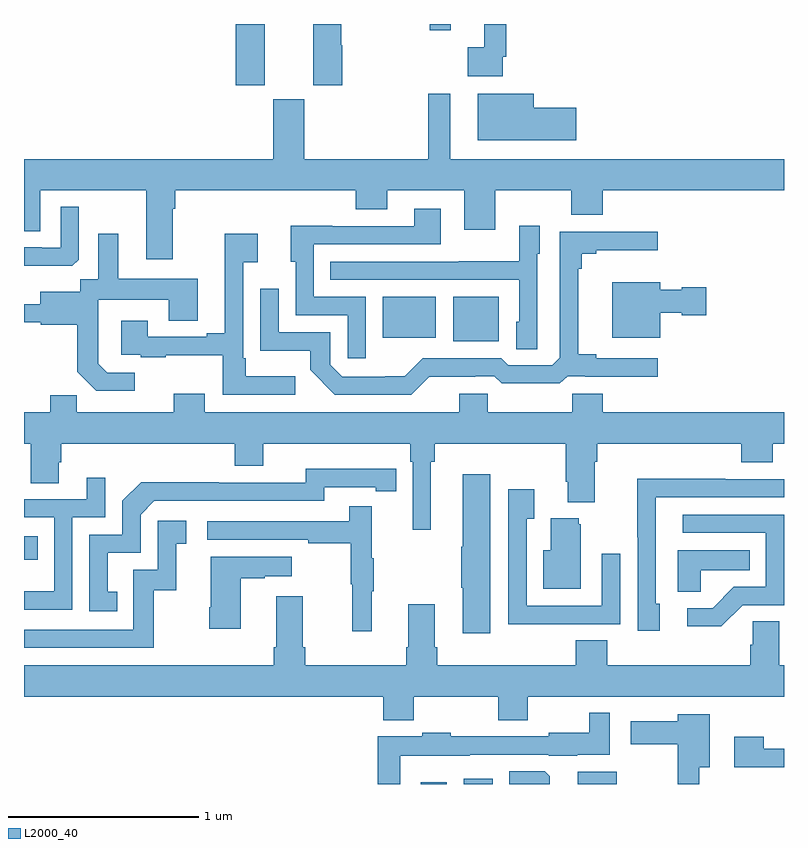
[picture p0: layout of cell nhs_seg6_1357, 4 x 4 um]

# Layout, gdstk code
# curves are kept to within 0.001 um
import gdstk
lib = gdstk.Library(unit=1e-6, precision=1e-09)
def R(c, l, rs):  # rectangles x0, y0, x1, y1
    for r in rs: c.add(gdstk.rectangle(r[:2], r[2:], *l))
def P(c, l, *ps):  # polygons
    for p in ps: c.add(gdstk.Polygon(p, *l))
L2000_40 = (2000, 40)

nhs_seg6_1357 = lib.new_cell('nhs_seg6_1357')
R(nhs_seg6_1357, L2000_40, [(195.089,989.5,195.226,989.509), (195.314,989.5,195.466,989.527), (195.914,989.5,196.12,989.564), (193,990.681,193.073,990.804), (195.26,991.829,195.499,992.065), (194.888,991.85,195.166,992.065), (194.114,993.177,194.266,993.5), (195.135,993.468,195.245,993.5)])
P(nhs_seg6_1357, L2000_40, [(194.675,993.389),(194.67,993.389),(194.67,993.5),(194.522,993.5),(194.522,993.177),(194.675,993.177)],
  [(195.519,993.328),(195.539,993.328),(195.539,993.5),(195.422,993.5),(195.422,993.377),(195.336,993.377),(195.336,993.224),(195.519,993.224)],
  [(195.907,993.059),(195.682,993.059),(195.682,993.133),(195.389,993.133),(195.389,992.888),(195.907,992.888)],
  [(194.476,993.105),(194.312,993.105),(194.312,992.788),(193,992.788),(193,992.41),(193.086,992.41),(193.086,992.624),(193.643,992.624),(193.643,992.262),(193.783,992.262),(193.783,992.528),(193.796,992.528),(193.796,992.624),(194.747,992.624),(194.747,992.525),(194.911,992.525),(194.911,992.624),(195.317,992.624),(195.317,992.418),(195.481,992.418),(195.481,992.624),(195.881,992.624),(195.881,992.496),(196.045,992.496),(196.045,992.624),(197,992.624),(197,992.788),(195.244,992.788),(195.244,993.133),(195.127,993.133),(195.127,992.788),(194.476,992.788)],
  [(193.287,992.259),(193.287,992.539),(193.194,992.539),(193.194,992.322),(193.094,992.322),(193.094,992.325),(193,992.325),(193,992.228),(193.255,992.228)],
  [(194.799,992.064),(194.526,992.064),(194.526,992.34),(195.193,992.34),(195.193,992.527),(195.053,992.527),(195.053,992.436),(194.623,992.436),(194.623,992.438),(194.405,992.438),(194.405,992.25),(194.43,992.25),(194.43,991.968),(194.703,991.968),(194.703,991.74),(194.799,991.74)],
  [(195.702,992.292),(195.715,992.292),(195.715,992.437),(195.606,992.437),(195.606,992.251),(195.289,992.251),(195.289,992.25),(194.611,992.25),(194.611,992.154),(195.606,992.154),(195.606,991.932),(195.59,991.932),(195.59,991.789),(195.702,991.789)],
  [(195.134,991.643),(195.374,991.643),(195.374,991.647),(195.474,991.647),(195.514,991.608),(195.821,991.608),(195.861,991.647),(195.955,991.647),(195.955,991.643),(196.336,991.643),(196.336,991.74),(196.012,991.74),(196.012,991.763),(195.917,991.763),(195.917,992.213),(195.935,992.213),(195.935,992.29),(196.012,992.29),(196.012,992.309),(196.336,992.309),(196.336,992.406),(195.819,992.406),(195.819,991.743),(195.78,991.704),(195.549,991.704),(195.513,991.74),(195.099,991.74),(195.005,991.646),(194.9,991.646),(194.9,991.644),(194.676,991.644),(194.613,991.707),(194.613,991.878),(194.34,991.878),(194.34,992.107),(194.244,992.107),(194.244,991.781),(194.506,991.781),(194.506,991.679),(194.636,991.548),(195.039,991.548)],
  [(193.582,991.665),(193.437,991.665),(193.39,991.712),(193.39,991.807),(193.392,991.807),(193.392,992.048),(193.763,992.048),(193.763,991.939),(193.915,991.939),(193.915,992.158),(193.495,992.158),(193.495,992.395),(193.391,992.395),(193.391,992.156),(193.296,992.156),(193.296,992.092),(193.085,992.092),(193.085,992.025),(193,992.025),(193,991.929),(193.089,991.929),(193.089,991.917),(193.281,991.917),(193.281,991.671),(193.381,991.571),(193.582,991.571)],
  [(194.428,991.645),(194.167,991.645),(194.167,991.741),(194.154,991.741),(194.154,992.246),(194.23,992.246),(194.23,992.395),(194.057,992.395),(194.057,991.873),(193.961,991.873),(193.961,991.854),(193.651,991.854),(193.651,991.939),(193.511,991.939),(193.511,991.758),(193.615,991.758),(193.615,991.746),(193.747,991.746),(193.747,991.757),(194.046,991.757),(194.046,991.548),(194.428,991.548)],
  [(196.348,991.979),(196.461,991.979),(196.461,991.967),(196.591,991.967),(196.591,992.114),(196.461,992.114),(196.461,992.101),(196.348,992.101),(196.348,992.14),(196.097,992.14),(196.097,991.85),(196.348,991.85)],
  [(193.951,991.555),(193.787,991.555),(193.787,991.456),(193.277,991.456),(193.277,991.547),(193.139,991.547),(193.139,991.456),(193,991.456),(193,991.292),(193.036,991.292),(193.036,991.084),(193.183,991.084),(193.183,991.194),(193.196,991.194),(193.196,991.292),(194.108,991.292),(194.108,991.175),(194.26,991.175),(194.26,991.292),(195.032,991.292),(195.032,991.196),(195.045,991.196),(195.045,990.837),(195.142,990.837),(195.142,991.196),(195.161,991.196),(195.161,991.292),(195.851,991.292),(195.851,991.09),(195.863,991.09),(195.863,990.983),(196.003,990.983),(196.003,991.196),(196.016,991.196),(196.016,991.292),(196.775,991.292),(196.775,991.193),(196.94,991.193),(196.94,991.292),(197,991.292),(197,991.456),(196.046,991.456),(196.046,991.554),(195.886,991.554),(195.886,991.456),(195.441,991.456),(195.441,991.554),(195.29,991.554),(195.29,991.456),(193.951,991.456)],
  [(193.49,990.513),(193.441,990.513),(193.441,990.717),(193.614,990.717),(193.614,990.918),(193.686,990.99),(194.58,990.99),(194.58,991.062),(194.852,991.062),(194.852,991.042),(194.96,991.042),(194.96,991.158),(194.484,991.159),(194.484,991.086),(194.024,991.086),(194.024,991.088),(193.616,991.088),(193.518,990.99),(193.518,990.813),(193.344,990.813),(193.344,990.408),(193.49,990.408)],
  [(195.454,991.129),(195.308,991.129),(195.308,990.749),(195.301,990.749),(195.301,990.532),(195.308,990.532),(195.308,990.294),(195.454,990.294)],
  [(193.254,990.903),(193.428,990.903),(193.428,991.111),(193.331,991.111),(193.331,990.999),(193,990.999),(193,990.903),(193.158,990.903),(193.158,990.514),(193,990.514),(193,990.417),(193.254,990.417)],
  [(196.345,990.45),(196.326,990.45),(196.326,991.008),(197,991.008),(197,991.104),(196.691,991.104),(196.691,991.106),(196.228,991.106),(196.228,990.799),(196.23,990.799),(196.23,990.306),(196.345,990.306)],
  [(195.821,990.342),(196.137,990.342),(196.137,990.712),(196.041,990.712),(196.041,990.438),(195.645,990.438),(195.645,990.895),(195.685,990.895),(195.685,991.051),(195.549,991.051),(195.549,990.341),(195.821,990.341)],
  [(194.831,990.515),(194.842,990.515),(194.842,990.689),(194.831,990.689),(194.831,990.961),(194.713,990.961),(194.713,990.882),(193.965,990.882),(193.965,990.786),(194.497,990.786),(194.497,990.766),(194.721,990.766),(194.721,990.552),(194.728,990.552),(194.728,990.303),(194.831,990.303)],
  [(196.782,990.441),(197,990.441),(197,990.918),(196.467,990.918),(196.467,990.822),(196.905,990.822),(196.905,990.537),(196.736,990.537),(196.625,990.426),(196.491,990.426),(196.491,990.329),(196.669,990.329)],
  [(195.931,990.867),(195.92,990.867),(195.92,990.898),(195.773,990.898),(195.773,990.73),(195.734,990.73),(195.734,990.527),(195.931,990.527)],
  [(193.684,990.519),(193.802,990.519),(193.802,990.765),(193.855,990.765),(193.855,990.886),(193.704,990.886),(193.704,990.627),(193.575,990.627),(193.575,990.312),(193,990.312),(193,990.216),(193.684,990.216)],
  [(196.563,990.626),(196.82,990.626),(196.82,990.73),(196.442,990.73),(196.442,990.511),(196.563,990.511)],
  [(194.14,990.583),(194.267,990.583),(194.267,990.593),(194.41,990.593),(194.41,990.697),(193.982,990.697),(193.982,990.43),(193.975,990.43),(193.975,990.318),(194.14,990.318)],
  [(195.051,989.96),(195.496,989.96),(195.496,989.836),(195.651,989.836),(195.651,989.96),(197,989.96),(197,990.124),(196.975,990.124),(196.975,990.356),(196.836,990.356),(196.836,990.233),(196.823,990.233),(196.823,990.124),(196.07,990.124),(196.07,990.257),(195.905,990.257),(195.905,990.124),(195.176,990.124),(195.176,990.22),(195.163,990.22),(195.163,990.445),(195.023,990.445),(195.023,990.22),(195.011,990.22),(195.011,990.124),(194.48,990.124),(194.48,990.22),(194.467,990.22),(194.467,990.487),(194.327,990.487),(194.327,990.22),(194.315,990.22),(194.315,990.124),(193,990.124),(193,989.96),(194.891,989.96),(194.891,989.836),(195.051,989.836)],
  [(194.979,989.648),(195.345,989.648),(195.345,989.655),(195.762,989.655),(195.762,989.648),(195.912,989.648),(195.912,989.654),(196.083,989.654),(196.083,989.875),(195.975,989.875),(195.975,989.77),(195.762,989.77),(195.762,989.751),(195.246,989.751),(195.246,989.769),(195.096,989.769),(195.096,989.751),(194.863,989.751),(194.863,989.5),(194.979,989.5)],
  [(196.555,989.588),(196.609,989.588),(196.609,989.866),(196.442,989.866),(196.442,989.83),(196.194,989.83),(196.194,989.708),(196.442,989.708),(196.442,989.5),(196.555,989.5)],
  [(197,989.685),(196.893,989.685),(196.893,989.749),(196.737,989.749),(196.737,989.589),(197,989.589)],
  [(195.766,989.54),(195.74,989.566),(195.554,989.566),(195.554,989.5),(195.766,989.5)])

lib.write_gds('nhs_seg6_1357.gds')
